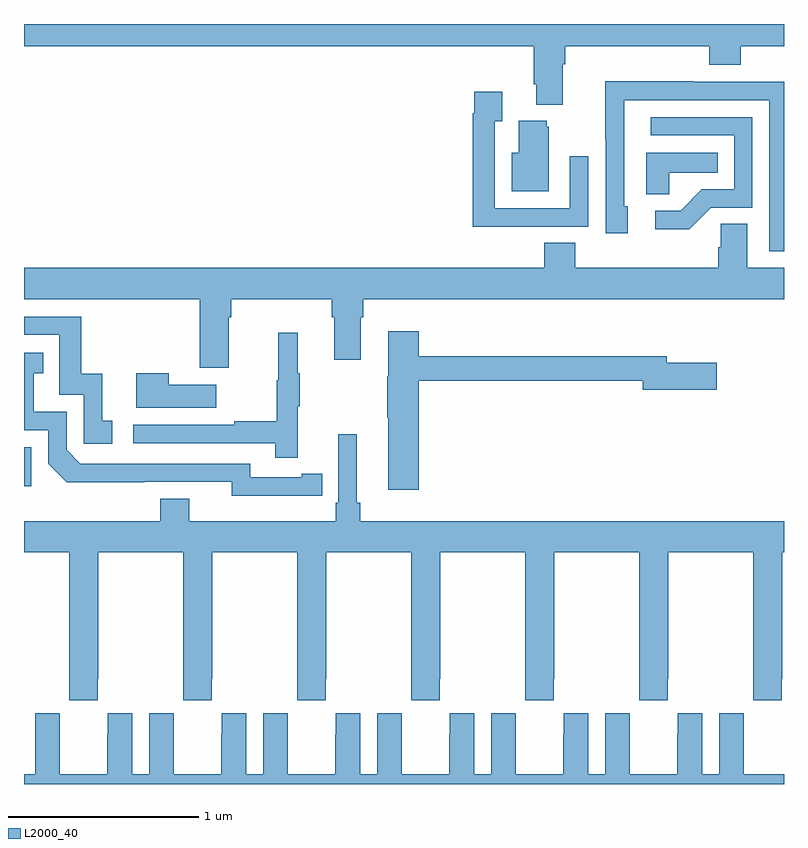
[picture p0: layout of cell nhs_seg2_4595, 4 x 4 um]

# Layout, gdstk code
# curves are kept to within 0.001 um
import gdstk
lib = gdstk.Library(unit=1e-6, precision=1e-09)
def R(c, l, rs):  # rectangles x0, y0, x1, y1
    for r in rs: c.add(gdstk.rectangle(r[:2], r[2:], *l))
def P(c, l, *ps):  # polygons
    for p in ps: c.add(gdstk.Polygon(p, *l))
L2000_40 = (2000, 40)

nhs_seg2_4595 = lib.new_cell('nhs_seg2_4595')
R(nhs_seg2_4595, L2000_40, [(361,597.366,361.038,597.573)])
P(nhs_seg2_4595, L2000_40, [(363.835,599.588),(363.848,599.588),(363.848,599.684),(364.607,599.684),(364.607,599.585),(364.772,599.585),(364.772,599.684),(365,599.684),(365,599.8),(361,599.8),(361,599.684),(363.683,599.684),(363.683,599.482),(363.695,599.482),(363.695,599.375),(363.835,599.375)],
  [(365,599.496),(364.523,599.496),(364.523,599.498),(364.06,599.498),(364.06,599.191),(364.062,599.191),(364.062,598.698),(364.177,598.698),(364.177,598.842),(364.158,598.842),(364.158,599.4),(364.923,599.4),(364.923,598.605),(365,598.605)],
  [(363.653,598.734),(363.969,598.734),(363.969,599.104),(363.873,599.104),(363.873,598.83),(363.477,598.83),(363.477,599.287),(363.517,599.287),(363.517,599.443),(363.369,599.443),(363.369,599.33),(363.361,599.33),(363.361,598.733),(363.653,598.733)],
  [(364.614,598.833),(364.833,598.833),(364.833,599.31),(364.299,599.31),(364.299,599.214),(364.737,599.214),(364.737,598.929),(364.568,598.929),(364.457,598.818),(364.323,598.818),(364.323,598.721),(364.501,598.721)],
  [(363.763,599.259),(363.752,599.259),(363.752,599.29),(363.605,599.29),(363.605,599.122),(363.566,599.122),(363.566,598.919),(363.763,598.919)],
  [(364.395,599.018),(364.652,599.018),(364.652,599.122),(364.274,599.122),(364.274,598.903),(364.395,598.903)],
  [(362.077,598.256),(362.09,598.256),(362.09,598.352),(362.621,598.352),(362.621,598.256),(362.633,598.256),(362.633,598.032),(362.773,598.032),(362.773,598.256),(362.786,598.256),(362.786,598.352),(365,598.352),(365,598.516),(364.807,598.516),(364.807,598.748),(364.668,598.748),(364.668,598.625),(364.655,598.625),(364.655,598.516),(363.902,598.516),(363.902,598.649),(363.737,598.649),(363.737,598.516),(361,598.516),(361,598.352),(361.925,598.352),(361.925,597.99),(362.077,597.99)],
  [(361.465,597.711),(361.412,597.711),(361.412,597.958),(361.301,597.958),(361.301,598.26),(361,598.26),(361,598.164),(361.185,598.164),(361.185,597.849),(361.314,597.849),(361.314,597.591),(361.465,597.591)],
  [(363.077,597.922),(364.256,597.922),(364.256,597.875),(364.645,597.875),(364.645,598.017),(364.384,598.017),(364.384,598.051),(363.077,598.051),(363.077,598.183),(362.918,598.183),(362.918,597.945),(362.911,597.945),(362.911,597.727),(362.918,597.727),(362.918,597.348),(363.077,597.348)],
  [(362.441,597.787),(362.452,597.787),(362.452,597.961),(362.441,597.961),(362.441,598.174),(362.338,598.174),(362.338,597.924),(362.331,597.924),(362.331,597.71),(362.107,597.71),(362.107,597.69),(361.575,597.69),(361.575,597.594),(362.323,597.594),(362.323,597.516),(362.441,597.516)],
  [(362.462,597.318),(362.57,597.318),(362.57,597.434),(362.462,597.434),(362.462,597.414),(362.19,597.414),(362.19,597.486),(361.296,597.486),(361.224,597.558),(361.224,597.759),(361.051,597.759),(361.051,597.963),(361.1,597.963),(361.1,598.069),(361,598.069),(361,597.663),(361.128,597.663),(361.128,597.486),(361.226,597.389),(362.094,597.39),(362.094,597.317)],
  [(362.011,597.901),(361.763,597.901),(361.763,597.961),(361.592,597.961),(361.592,597.779),(362.011,597.779)],
  [(361.389,596.353),(361.392,596.353),(361.392,597.02),(361.837,597.02),(361.837,596.353),(361.839,596.353),(361.839,596.241),(361.989,596.241),(361.989,596.353),(361.992,596.353),(361.992,597.02),(362.437,597.02),(362.437,596.353),(362.439,596.353),(362.439,596.241),(362.589,596.241),(362.589,596.353),(362.592,596.353),(362.592,597.02),(363.037,597.02),(363.037,596.353),(363.039,596.353),(363.039,596.241),(363.189,596.241),(363.189,596.353),(363.192,596.353),(363.192,597.02),(363.637,597.02),(363.637,596.353),(363.639,596.353),(363.639,596.241),(363.789,596.241),(363.789,596.353),(363.792,596.353),(363.792,597.02),(364.237,597.02),(364.237,596.353),(364.239,596.353),(364.239,596.241),(364.389,596.241),(364.389,596.353),(364.392,596.353),(364.392,597.02),(364.837,597.02),(364.837,596.353),(364.839,596.353),(364.839,596.241),(364.989,596.241),(364.989,596.353),(364.992,596.353),(364.992,597.02),(365,597.02),(365,597.184),(362.771,597.184),(362.771,597.28),(362.752,597.28),(362.752,597.64),(362.655,597.64),(362.655,597.28),(362.642,597.28),(362.642,597.184),(361.87,597.184),(361.87,597.301),(361.718,597.301),(361.718,597.184),(361,597.184),(361,597.02),(361.237,597.02),(361.237,596.353),(361.239,596.353),(361.239,596.241),(361.389,596.241)],
  [(365,595.852),(364.789,595.852),(364.789,596.06),(364.788,596.06),(364.788,596.173),(364.658,596.173),(364.658,595.852),(364.57,595.852),(364.57,596.173),(364.44,596.173),(364.44,596.06),(364.439,596.06),(364.439,595.852),(364.189,595.852),(364.189,596.06),(364.188,596.06),(364.188,596.173),(364.058,596.173),(364.058,595.852),(363.97,595.852),(363.97,596.173),(363.84,596.173),(363.84,596.06),(363.839,596.06),(363.839,595.852),(363.589,595.852),(363.589,596.06),(363.588,596.06),(363.588,596.173),(363.458,596.173),(363.458,595.852),(363.37,595.852),(363.37,596.173),(363.24,596.173),(363.24,596.06),(363.239,596.06),(363.239,595.852),(362.989,595.852),(362.989,596.06),(362.988,596.06),(362.988,596.173),(362.858,596.173),(362.858,595.852),(362.77,595.852),(362.77,596.173),(362.64,596.173),(362.64,596.06),(362.639,596.06),(362.639,595.852),(362.389,595.852),(362.389,596.06),(362.388,596.06),(362.388,596.173),(362.258,596.173),(362.258,595.852),(362.17,595.852),(362.17,596.173),(362.04,596.173),(362.04,596.06),(362.039,596.06),(362.039,595.852),(361.789,595.852),(361.789,596.06),(361.788,596.06),(361.788,596.173),(361.658,596.173),(361.658,595.852),(361.57,595.852),(361.57,596.173),(361.44,596.173),(361.44,596.06),(361.439,596.06),(361.439,595.852),(361.189,595.852),(361.189,596.06),(361.188,596.06),(361.188,596.173),(361.058,596.173),(361.058,595.852),(361,595.852),(361,595.8),(365,595.8)])

lib.write_gds('nhs_seg2_4595.gds')
